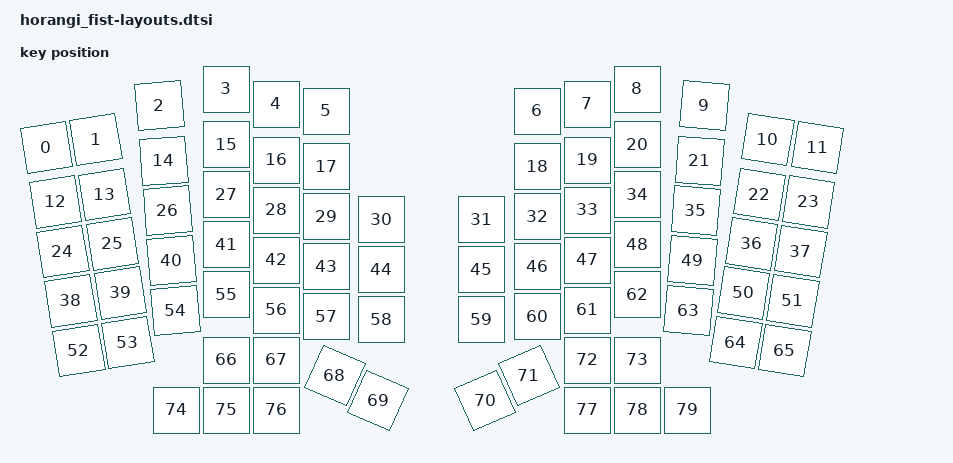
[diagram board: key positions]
/*
 * horangi_fist 물리 레이아웃 (ZMK Studio 용)
 *
 * Horangi/horangi_fist_v2/horangi_fist.kicad_pcb 의 실제 스위치 좌표에서 생성했습니다.
 * 컬럼 피치 18mm = 1u(100). x/y 는 키캡 좌상단, rx/ry 는 키 중심(절대 좌표).
 * 회전은 centi-degree, 시계방향이 양수 (KiCad 는 반시계가 양수라 부호가 반대).
 *
 * 하나의 리버서블 PCB 를 양쪽에 쓰고, 왼쪽 반은 nice!nano 가 뒤집혀 실장됩니다.
 * 그래서 왼쪽은 컬럼 순서가 반대이고(firmware col c -> PCB COL 6-c),
 * 좌표는 도면의 x 미러, 회전 부호도 반대입니다.
 *
 * ★ 불변식: 이 keys 배열의 길이 = horangi_fist.dtsi 의 matrix transform map 길이
 *          = 각 레이어의 bindings 개수 = 80.
 *   빌드 타임에 이걸 검사하는 장치가 없습니다. 한쪽만 고치면 조용히 어긋납니다.
 *   키를 추가/삭제하면 세 곳을 반드시 같이 고치세요.
 *
 * 순서는 horangi_fist.dtsi 의 map 과 동일합니다.
 */

#include <physical_layouts.dtsi>

/ {
    horangi_fist_layout: horangi_fist_layout {
        compatible = "zmk,physical-layout";
        display-name = "horangi_fist";

        keys  //                     w   h    x    y      rot    rx    ry
            = <&key_physical_attrs 100 100    0  117   (-900)    50   167>   // RC(0,0 ) L SW35
            , <&key_physical_attrs 100 100   99  101   (-900)   149   151>   // RC(0,1 ) L SW29
            , <&key_physical_attrs 100 100  226   33   (-450)   276    83>   // RC(0,2 ) L SW23
            , <&key_physical_attrs 100 100  360    0        0   410    50>   // RC(0,3 ) L SW17
            , <&key_physical_attrs 100 100  460   30        0   510    80>   // RC(0,4 ) L SW11
            , <&key_physical_attrs 100 100  560   44        0   610    94>   // RC(0,5 ) L SW5
            , <&key_physical_attrs 100 100  982   44        0  1032    94>   // RC(0,8 ) R SW5
            , <&key_physical_attrs 100 100 1082   30        0  1132    80>   // RC(0,9 ) R SW11
            , <&key_physical_attrs 100 100 1182    0        0  1232    50>   // RC(0,10) R SW17
            , <&key_physical_attrs 100 100 1316   33      450  1366    83>   // RC(0,11) R SW23
            , <&key_physical_attrs 100 100 1443  101      900  1493   151>   // RC(0,12) R SW29
            , <&key_physical_attrs 100 100 1542  117      900  1592   167>   // RC(0,13) R SW35

        // --- matrix row 1 ---
            , <&key_physical_attrs 100 100   18  226   (-900)    68   276>   // RC(1,0 ) L SW36
            , <&key_physical_attrs 100 100  116  211   (-900)   166   261>   // RC(1,1 ) L SW30
            , <&key_physical_attrs 100 100  235  144   (-450)   285   194>   // RC(1,2 ) L SW24
            , <&key_physical_attrs 100 100  360  111        0   410   161>   // RC(1,3 ) L SW18
            , <&key_physical_attrs 100 100  460  142        0   510   192>   // RC(1,4 ) L SW12
            , <&key_physical_attrs 100 100  560  155        0   610   205>   // RC(1,5 ) L SW6
            , <&key_physical_attrs 100 100  982  155        0  1032   205>   // RC(1,8 ) R SW6
            , <&key_physical_attrs 100 100 1082  142        0  1132   192>   // RC(1,9 ) R SW12
            , <&key_physical_attrs 100 100 1182  111        0  1232   161>   // RC(1,10) R SW18
            , <&key_physical_attrs 100 100 1307  144      450  1357   194>   // RC(1,11) R SW24
            , <&key_physical_attrs 100 100 1426  211      900  1476   261>   // RC(1,12) R SW30
            , <&key_physical_attrs 100 100 1524  226      900  1574   276>   // RC(1,13) R SW36

        // --- matrix row 2 ---
            , <&key_physical_attrs 100 100   33  325   (-900)    83   375>   // RC(2,0 ) L SW37
            , <&key_physical_attrs 100 100  132  310   (-900)   182   360>   // RC(2,1 ) L SW31
            , <&key_physical_attrs 100 100  243  243   (-450)   293   293>   // RC(2,2 ) L SW25
            , <&key_physical_attrs 100 100  360  211        0   410   261>   // RC(2,3 ) L SW19
            , <&key_physical_attrs 100 100  460  242        0   510   292>   // RC(2,4 ) L SW13
            , <&key_physical_attrs 100 100  560  255        0   610   305>   // RC(2,5 ) L SW7
            , <&key_physical_attrs 100 100  671  261        0   721   311>   // RC(2,6 ) L SW1
            , <&key_physical_attrs 100 100  871  261        0   921   311>   // RC(2,7 ) R SW1
            , <&key_physical_attrs 100 100  982  255        0  1032   305>   // RC(2,8 ) R SW7
            , <&key_physical_attrs 100 100 1082  242        0  1132   292>   // RC(2,9 ) R SW13
            , <&key_physical_attrs 100 100 1182  211        0  1232   261>   // RC(2,10) R SW19
            , <&key_physical_attrs 100 100 1299  243      450  1349   293>   // RC(2,11) R SW25
            , <&key_physical_attrs 100 100 1410  310      900  1460   360>   // RC(2,12) R SW31
            , <&key_physical_attrs 100 100 1509  325      900  1559   375>   // RC(2,13) R SW37

        // --- matrix row 3 ---
            , <&key_physical_attrs 100 100   49  424   (-900)    99   474>   // RC(3,0 ) L SW38
            , <&key_physical_attrs 100 100  148  408   (-900)   198   458>   // RC(3,1 ) L SW32
            , <&key_physical_attrs 100 100  250  343   (-450)   300   393>   // RC(3,2 ) L SW26
            , <&key_physical_attrs 100 100  360  311        0   410   361>   // RC(3,3 ) L SW20
            , <&key_physical_attrs 100 100  460  342        0   510   392>   // RC(3,4 ) L SW14
            , <&key_physical_attrs 100 100  560  355        0   610   405>   // RC(3,5 ) L SW8
            , <&key_physical_attrs 100 100  671  361        0   721   411>   // RC(3,6 ) L SW2
            , <&key_physical_attrs 100 100  871  361        0   921   411>   // RC(3,7 ) R SW2
            , <&key_physical_attrs 100 100  982  355        0  1032   405>   // RC(3,8 ) R SW8
            , <&key_physical_attrs 100 100 1082  342        0  1132   392>   // RC(3,9 ) R SW14
            , <&key_physical_attrs 100 100 1182  311        0  1232   361>   // RC(3,10) R SW20
            , <&key_physical_attrs 100 100 1292  343      450  1342   393>   // RC(3,11) R SW26
            , <&key_physical_attrs 100 100 1394  408      900  1444   458>   // RC(3,12) R SW32
            , <&key_physical_attrs 100 100 1493  424      900  1543   474>   // RC(3,13) R SW38

        // --- matrix row 4 ---
            , <&key_physical_attrs 100 100   65  523   (-900)   115   573>   // RC(4,0 ) L SW39
            , <&key_physical_attrs 100 100  163  507   (-900)   213   557>   // RC(4,1 ) L SW33
            , <&key_physical_attrs 100 100  258  443   (-450)   308   493>   // RC(4,2 ) L SW27
            , <&key_physical_attrs 100 100  360  411        0   410   461>   // RC(4,3 ) L SW21
            , <&key_physical_attrs 100 100  460  442        0   510   492>   // RC(4,4 ) L SW15
            , <&key_physical_attrs 100 100  560  455        0   610   505>   // RC(4,5 ) L SW9
            , <&key_physical_attrs 100 100  671  461        0   721   511>   // RC(4,6 ) L SW3
            , <&key_physical_attrs 100 100  871  461        0   921   511>   // RC(4,7 ) R SW3
            , <&key_physical_attrs 100 100  982  455        0  1032   505>   // RC(4,8 ) R SW9
            , <&key_physical_attrs 100 100 1082  442        0  1132   492>   // RC(4,9 ) R SW15
            , <&key_physical_attrs 100 100 1182  411        0  1232   461>   // RC(4,10) R SW21
            , <&key_physical_attrs 100 100 1284  443      450  1334   493>   // RC(4,11) R SW27
            , <&key_physical_attrs 100 100 1379  507      900  1429   557>   // RC(4,12) R SW33
            , <&key_physical_attrs 100 100 1477  523      900  1527   573>   // RC(4,13) R SW39

        // --- matrix row 5 ---
            , <&key_physical_attrs 100 100  360  542        0   410   592>   // RC(5,3 ) L SW22
            , <&key_physical_attrs 100 100  460  542        0   510   592>   // RC(5,4 ) L SW16
            , <&key_physical_attrs 100 100  577  573     2400   627   623>   // RC(5,5 ) L SW10
            , <&key_physical_attrs 100 100  664  623     2400   714   673>   // RC(5,6 ) L SW4
            , <&key_physical_attrs 100 100  878  623  (-2400)   928   673>   // RC(5,7 ) R SW4
            , <&key_physical_attrs 100 100  965  573  (-2400)  1015   623>   // RC(5,8 ) R SW10
            , <&key_physical_attrs 100 100 1082  542        0  1132   592>   // RC(5,9 ) R SW16
            , <&key_physical_attrs 100 100 1182  542        0  1232   592>   // RC(5,10) R SW22
            , <&key_physical_attrs 100 100  260  642        0   310   692>   // RC(5,0 ) L SW40
            , <&key_physical_attrs 100 100  360  642        0   410   692>   // RC(5,1 ) L SW34
            , <&key_physical_attrs 100 100  460  642        0   510   692>   // RC(5,2 ) L SW28
            , <&key_physical_attrs 100 100 1082  642        0  1132   692>   // RC(5,11) R SW28
            , <&key_physical_attrs 100 100 1182  642        0  1232   692>   // RC(5,12) R SW34
            , <&key_physical_attrs 100 100 1282  642        0  1332   692>   // RC(5,13) R SW40
            ;
    };
};
